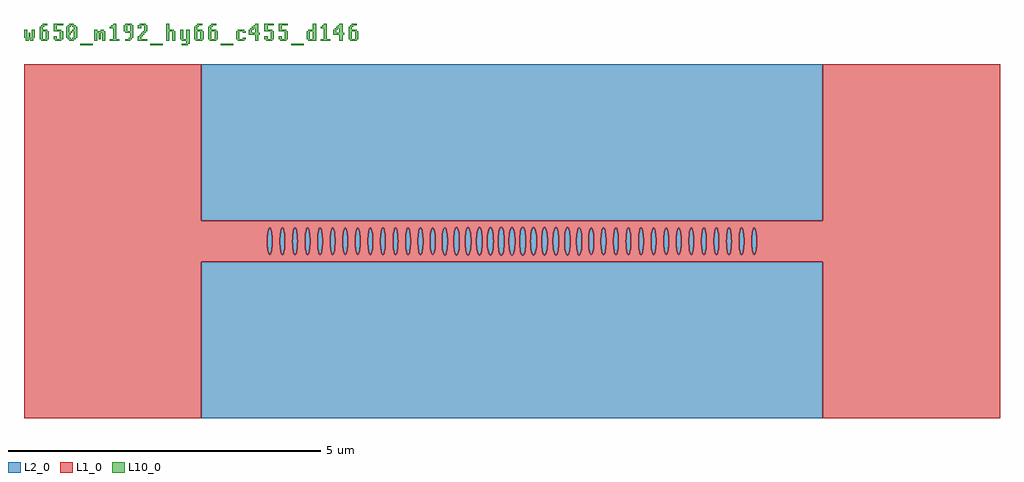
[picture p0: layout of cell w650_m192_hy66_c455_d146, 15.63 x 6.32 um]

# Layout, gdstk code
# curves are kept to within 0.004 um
import gdstk
lib = gdstk.Library(unit=1e-6, precision=1e-09)
def R(c, l, rs):  # rectangles x0, y0, x1, y1
    for r in rs: c.add(gdstk.rectangle(r[:2], r[2:], *l))
def A(c, l, x, y, w, h, nx, ny, dx, dy):  # array of equal rectangles
    R(c, l, [(x+i*dx, y+j*dy, x+i*dx+w, y+j*dy+h) for i in range(nx) for j in range(ny)])
def P(c, l, *ps):  # polygons
    for p in ps: c.add(gdstk.Polygon(p, *l))
L1_0 = (1, 0)
L2_0 = (2, 0)
L10_0 = (10, 0)

w650_m192_hy66_c455_d146 = lib.new_cell('w650_m192_hy66_c455_d146')
P(w650_m192_hy66_c455_d146, L1_0, [(-4.978,0.325),(-4.978,2.835),(-7.813,2.835),(-7.813,-0.039),(-3.917,-0.039),(-3.915,0.077),(-3.907,0.145),(-3.895,0.192),(-3.881,0.214),(-3.873,0.214),(-3.859,0.192),(-3.847,0.145),(-3.837,0),(-3.716,0),(-3.706,0.145),(-3.694,0.192),(-3.68,0.214),(-3.672,0.214),(-3.658,0.192),(-3.646,0.145),(-3.636,0),(-3.515,0),(-3.504,0.145),(-3.493,0.192),(-3.478,0.214),(-3.464,0.206),(-3.45,0.171),(-3.437,0.077),(-3.434,0),(-3.314,0),(-3.303,0.145),(-3.291,0.192),(-3.277,0.214),(-3.263,0.206),(-3.249,0.171),(-3.239,0.113),(-3.233,0),(-3.113,0),(-3.107,0.113),(-3.097,0.171),(-3.083,0.206),(-3.069,0.214),(-3.054,0.192),(-3.043,0.145),(-3.032,0),(-3.043,-0.145),(-3.054,-0.192),(-3.069,-0.214),(-3.083,-0.206),(-3.097,-0.171),(-3.107,-0.113),(-3.113,0),(-3.233,0),(-3.244,-0.145),(-3.256,-0.192),(-3.27,-0.214),(-3.285,-0.206),(-3.298,-0.171),(-3.308,-0.113),(-3.314,0),(-3.434,0),(-3.445,-0.145),(-3.457,-0.192),(-3.471,-0.214),(-3.486,-0.206),(-3.499,-0.171),(-3.509,-0.113),(-3.515,0),(-3.636,0),(-3.646,-0.145),(-3.658,-0.192),(-3.672,-0.214),(-3.68,-0.214),(-3.694,-0.192),(-3.706,-0.145),(-3.716,0),(-3.837,0),(-3.847,-0.145),(-3.859,-0.192),(-3.873,-0.214),(-3.888,-0.206),(-3.901,-0.171),(-3.917,-0.039),(-7.813,-0.039),(-7.813,-2.835),(-4.978,-2.835),(-4.978,-0.325),(-2.911,-0.325),(-2.911,0.325)],
  [(-2.905,0.113),(-2.889,0.192),(-2.875,0.214),(-2.867,0.214),(-2.853,0.192),(-2.841,0.145),(-2.831,0),(-2.71,0),(-2.7,0.145),(-2.688,0.192),(-2.674,0.214),(-2.666,0.214),(-2.652,0.192),(-2.64,0.145),(-2.63,0),(-2.509,0),(-2.503,0.113),(-2.493,0.171),(-2.48,0.206),(-2.465,0.214),(-2.451,0.192),(-2.439,0.145),(-2.428,0),(-2.308,0),(-2.302,0.113),(-2.292,0.171),(-2.279,0.206),(-2.264,0.214),(-2.25,0.192),(-2.238,0.145),(-2.227,0),(-2.107,0),(-2.101,0.113),(-2.091,0.171),(-2.077,0.206),(-2.063,0.214),(-2.048,0.192),(-2.037,0.145),(-2.026,0),(-2.037,-0.145),(-2.048,-0.192),(-2.063,-0.214),(-2.077,-0.206),(-2.091,-0.171),(-2.101,-0.113),(-2.107,0),(-2.227,0),(-2.238,-0.145),(-2.25,-0.192),(-2.264,-0.214),(-2.279,-0.206),(-2.292,-0.171),(-2.302,-0.113),(-2.308,0),(-2.428,0),(-2.439,-0.145),(-2.451,-0.192),(-2.465,-0.214),(-2.48,-0.206),(-2.493,-0.171),(-2.503,-0.113),(-2.509,0),(-2.63,0),(-2.64,-0.145),(-2.652,-0.192),(-2.666,-0.214),(-2.674,-0.214),(-2.688,-0.192),(-2.7,-0.145),(-2.71,0),(-2.831,0),(-2.841,-0.145),(-2.853,-0.192),(-2.867,-0.214),(-2.882,-0.206),(-2.895,-0.171),(-2.911,-0.039),(-2.911,-0.325),(-1.899,-0.325),(-1.899,-0.113),(-1.905,-0.039),(-1.899,0.325),(-2.911,0.325),(-2.911,0.039)],
  [(-1.889,0.171),(-1.869,0.214),(-1.861,0.214),(-1.847,0.192),(-1.831,0.113),(-1.825,0),(-1.705,0),(-1.699,0.113),(-1.689,0.172),(-1.675,0.207),(-1.661,0.214),(-1.646,0.193),(-1.634,0.145),(-1.624,0.04),(-1.624,-0.04),(-1.506,-0.04),(-1.504,0.078),(-1.496,0.146),(-1.484,0.194),(-1.469,0.216),(-1.454,0.208),(-1.434,0.146),(-1.424,0),(-1.311,0),(-1.3,0.147),(-1.288,0.196),(-1.273,0.217),(-1.257,0.21),(-1.237,0.147),(-1.226,0),(-1.12,0),(-1.108,0.149),(-1.088,0.212),(-1.072,0.22),(-1.056,0.197),(-1.043,0.149),(-1.032,0.041),(-1.032,-0.041),(-1.049,-0.176),(-1.072,-0.22),(-1.088,-0.212),(-1.108,-0.149),(-1.12,0),(-1.226,0),(-1.237,-0.147),(-1.25,-0.196),(-1.265,-0.217),(-1.273,-0.217),(-1.288,-0.196),(-1.3,-0.147),(-1.311,0),(-1.424,0),(-1.434,-0.146),(-1.447,-0.194),(-1.461,-0.216),(-1.476,-0.208),(-1.49,-0.173),(-1.506,-0.04),(-1.624,-0.04),(-1.64,-0.172),(-1.653,-0.207),(-1.668,-0.214),(-1.682,-0.193),(-1.694,-0.145),(-1.705,0),(-1.825,0),(-1.835,-0.145),(-1.854,-0.206),(-1.869,-0.214),(-1.883,-0.192),(-1.899,-0.113),(-1.899,-0.325),(-0.907,-0.325),(-0.907,-0.199),(-0.926,-0.117),(-0.933,0),(-0.926,0.117),(-0.907,0.199),(-0.907,0.325),(-1.899,0.325),(-1.899,0.113)],
  [(-0.048,0.082),(-0.031,0.182),(-0.023,0.204),(-0.005,0.227),(-0.005,0.325),(-0.907,0.325),(-0.907,0.199),(-0.9,0.214),(-0.883,0.222),(-0.859,0.178),(-0.844,0.08),(-0.841,0),(-0.75,0),(-0.738,0.151),(-0.724,0.201),(-0.707,0.223),(-0.69,0.216),(-0.674,0.179),(-0.658,0.081),(-0.655,0),(-0.572,0),(-0.559,0.152),(-0.544,0.202),(-0.527,0.225),(-0.509,0.217),(-0.486,0.152),(-0.474,0),(-0.396,0),(-0.383,0.153),(-0.368,0.203),(-0.351,0.226),(-0.332,0.218),(-0.309,0.153),(-0.299,0.082),(-0.297,-0.042),(-0.223,-0.042),(-0.216,0.12),(-0.195,0.203),(-0.177,0.226),(-0.158,0.219),(-0.134,0.153),(-0.121,0),(-0.134,-0.153),(-0.149,-0.203),(-0.168,-0.226),(-0.186,-0.219),(-0.203,-0.181),(-0.216,-0.12),(-0.223,-0.042),(-0.297,-0.042),(-0.303,-0.119),(-0.316,-0.181),(-0.341,-0.226),(-0.36,-0.218),(-0.376,-0.181),(-0.389,-0.119),(-0.396,0),(-0.474,0),(-0.486,-0.152),(-0.501,-0.202),(-0.518,-0.225),(-0.536,-0.217),(-0.559,-0.152),(-0.572,0),(-0.655,0),(-0.658,-0.081),(-0.674,-0.179),(-0.69,-0.216),(-0.707,-0.223),(-0.724,-0.201),(-0.738,-0.151),(-0.75,0),(-0.841,0),(-0.844,-0.08),(-0.859,-0.178),(-0.883,-0.222),(-0.9,-0.214),(-0.907,-0.199),(-0.907,-0.325),(-0.005,-0.325),(-0.005,-0.227),(-0.023,-0.204),(-0.044,-0.12),(-0.052,0)],
  [(0.844,0.08),(0.853,0.15),(0.867,0.199),(0.883,0.222),(0.9,0.214),(0.9,0.325),(-0.005,0.325),(-0.005,0.227),(0.014,0.219),(0.031,0.182),(0.044,0.12),(0.052,0),(0.121,0),(0.134,0.153),(0.149,0.203),(0.168,0.226),(0.186,0.219),(0.21,0.153),(0.223,0),(0.296,0),(0.303,0.119),(0.316,0.181),(0.341,0.226),(0.36,0.218),(0.376,0.181),(0.389,0.119),(0.395,-0.041),(0.474,-0.041),(0.474,0.041),(0.486,0.152),(0.501,0.202),(0.518,0.225),(0.536,0.217),(0.559,0.152),(0.572,0),(0.655,0),(0.658,0.081),(0.674,0.179),(0.69,0.216),(0.707,0.223),(0.724,0.201),(0.738,0.151),(0.75,0),(0.738,-0.151),(0.724,-0.201),(0.707,-0.223),(0.69,-0.216),(0.674,-0.179),(0.658,-0.081),(0.655,0),(0.572,0),(0.559,-0.152),(0.536,-0.217),(0.518,-0.225),(0.493,-0.18),(0.474,-0.041),(0.395,-0.041),(0.383,-0.153),(0.368,-0.203),(0.351,-0.226),(0.332,-0.218),(0.309,-0.153),(0.296,0),(0.223,0),(0.21,-0.153),(0.195,-0.203),(0.177,-0.226),(0.158,-0.219),(0.134,-0.153),(0.121,0),(0.052,0),(0.044,-0.12),(0.031,-0.182),(0.014,-0.219),(-0.005,-0.227),(-0.005,-0.325),(0.9,-0.325),(0.9,-0.214),(0.891,-0.222),(0.875,-0.214),(0.859,-0.178),(0.848,-0.117),(0.841,0)],
  [(1.828,0.077),(1.841,0.171),(1.861,0.214),(1.869,0.214),(1.883,0.192),(1.899,0.113),(1.899,0.325),(0.9,0.325),(0.9,0.214),(0.915,0.178),(0.926,0.117),(0.932,-0.041),(1.032,-0.041),(1.032,0.041),(1.043,0.149),(1.056,0.197),(1.072,0.22),(1.088,0.212),(1.108,0.149),(1.12,0),(1.226,0),(1.237,0.147),(1.25,0.196),(1.265,0.217),(1.273,0.217),(1.288,0.196),(1.3,0.147),(1.308,0.079),(1.31,-0.04),(1.424,-0.04),(1.426,0.078),(1.434,0.146),(1.447,0.194),(1.461,0.216),(1.469,0.216),(1.484,0.194),(1.496,0.146),(1.504,0.078),(1.506,-0.04),(1.624,-0.04),(1.624,0.04),(1.634,0.145),(1.646,0.193),(1.661,0.214),(1.675,0.207),(1.689,0.172),(1.699,0.113),(1.705,0),(1.694,-0.145),(1.682,-0.193),(1.668,-0.214),(1.653,-0.207),(1.64,-0.172),(1.624,-0.04),(1.506,-0.04),(1.496,-0.146),(1.484,-0.194),(1.469,-0.216),(1.454,-0.208),(1.44,-0.173),(1.424,-0.04),(1.31,-0.04),(1.294,-0.174),(1.28,-0.21),(1.265,-0.217),(1.25,-0.196),(1.237,-0.147),(1.226,0),(1.12,0),(1.108,-0.149),(1.095,-0.197),(1.08,-0.22),(1.064,-0.212),(1.049,-0.176),(1.032,-0.041),(0.932,-0.041),(0.921,-0.15),(0.9,-0.214),(0.9,-0.325),(1.899,-0.325),(1.899,-0.113),(1.889,-0.171),(1.876,-0.206),(1.861,-0.214),(1.847,-0.192),(1.835,-0.145),(1.828,-0.077)],
  [(1.899,0.325),(1.905,0),(2.026,0),(2.037,0.145),(2.048,0.192),(2.063,0.214),(2.077,0.206),(2.091,0.171),(2.101,0.113),(2.107,0),(2.227,0),(2.238,0.145),(2.25,0.192),(2.264,0.214),(2.279,0.206),(2.292,0.171),(2.302,0.113),(2.308,0),(2.428,0),(2.431,0.077),(2.444,0.171),(2.458,0.206),(2.472,0.214),(2.487,0.192),(2.503,0.113),(2.508,-0.039),(2.63,-0.039),(2.632,0.077),(2.64,0.145),(2.652,0.192),(2.666,0.214),(2.674,0.214),(2.688,0.192),(2.7,0.145),(2.71,0),(2.7,-0.145),(2.688,-0.192),(2.674,-0.214),(2.659,-0.206),(2.646,-0.171),(2.63,-0.039),(2.508,-0.039),(2.493,-0.171),(2.48,-0.206),(2.465,-0.214),(2.451,-0.192),(2.439,-0.145),(2.428,0),(2.308,0),(2.297,-0.145),(2.285,-0.192),(2.271,-0.214),(2.257,-0.206),(2.243,-0.171),(2.233,-0.113),(2.227,0),(2.107,0),(2.101,-0.113),(2.091,-0.171),(2.077,-0.206),(2.063,-0.214),(2.048,-0.192),(2.037,-0.145),(2.026,0),(1.905,0),(1.899,-0.325),(2.911,-0.325),(2.911,-0.039),(2.895,-0.171),(2.882,-0.206),(2.867,-0.214),(2.853,-0.192),(2.841,-0.145),(2.831,0),(2.841,0.145),(2.853,0.192),(2.867,0.214),(2.882,0.206),(2.895,0.171),(2.911,0.039),(2.911,0.325)],
  [(4.978,-0.325),(4.978,-2.835),(7.813,-2.835),(7.813,2.835),(4.978,2.835),(4.978,0.325),(2.911,0.325),(2.911,0),(3.032,0),(3.043,0.145),(3.054,0.192),(3.069,0.214),(3.083,0.206),(3.097,0.171),(3.107,0.113),(3.113,0),(3.233,0),(3.244,0.145),(3.256,0.192),(3.27,0.214),(3.285,0.206),(3.298,0.171),(3.308,0.113),(3.314,0),(3.434,0),(3.445,0.145),(3.457,0.192),(3.471,0.214),(3.478,0.214),(3.493,0.192),(3.504,0.145),(3.512,0.077),(3.514,-0.039),(3.636,-0.039),(3.638,0.077),(3.646,0.145),(3.658,0.192),(3.672,0.214),(3.68,0.214),(3.694,0.192),(3.706,0.145),(3.716,0),(3.837,0),(3.847,0.145),(3.859,0.192),(3.873,0.214),(3.888,0.206),(3.901,0.171),(3.917,0.039),(3.915,-0.077),(3.907,-0.145),(3.895,-0.192),(3.881,-0.214),(3.873,-0.214),(3.859,-0.192),(3.847,-0.145),(3.837,0),(3.716,0),(3.706,-0.145),(3.694,-0.192),(3.68,-0.214),(3.665,-0.206),(3.652,-0.171),(3.636,-0.039),(3.514,-0.039),(3.499,-0.171),(3.486,-0.206),(3.471,-0.214),(3.457,-0.192),(3.445,-0.145),(3.434,0),(3.314,0),(3.303,-0.145),(3.291,-0.192),(3.277,-0.214),(3.263,-0.206),(3.249,-0.171),(3.239,-0.113),(3.233,0),(3.113,0),(3.107,-0.113),(3.097,-0.171),(3.083,-0.206),(3.069,-0.214),(3.054,-0.192),(3.043,-0.145),(3.032,0),(2.911,0),(2.911,-0.325)])
R(w650_m192_hy66_c455_d146, L2_0, [(-4.978,-2.835,4.978,-0.325), (-4.978,0.325,4.978,2.835)])
P(w650_m192_hy66_c455_d146, L2_0, [(2.23,-0.077),(2.243,-0.171),(2.264,-0.214),(2.279,-0.206),(2.285,-0.192),(2.302,-0.113),(2.308,0),(2.302,0.113),(2.292,0.171),(2.271,0.214),(2.264,0.214),(2.25,0.192),(2.233,0.113),(2.227,0)],
  [(-1.702,-0.078),(-1.689,-0.172),(-1.668,-0.214),(-1.653,-0.207),(-1.646,-0.193),(-1.634,-0.145),(-1.624,-0.04),(-1.624,0.04),(-1.634,0.145),(-1.646,0.193),(-1.661,0.214),(-1.668,0.214),(-1.682,0.193),(-1.699,0.113),(-1.705,0)],
  [(-3.713,-0.077),(-3.7,-0.171),(-3.68,-0.214),(-3.672,-0.214),(-3.658,-0.192),(-3.646,-0.145),(-3.636,-0.039),(-3.638,0.077),(-3.652,0.171),(-3.672,0.214),(-3.68,0.214),(-3.694,0.192),(-3.706,0.145),(-3.715,0.039)],
  [(3.437,-0.077),(3.45,-0.171),(3.471,-0.214),(3.478,-0.214),(3.493,-0.192),(3.509,-0.113),(3.515,0),(3.509,0.113),(3.493,0.192),(3.478,0.214),(3.471,0.214),(3.457,0.192),(3.445,0.145),(3.435,0.039)],
  [(3.311,0.077),(3.298,0.171),(3.277,0.214),(3.27,0.214),(3.256,0.192),(3.239,0.113),(3.233,0),(3.239,-0.113),(3.249,-0.171),(3.27,-0.214),(3.285,-0.206),(3.291,-0.192),(3.308,-0.113),(3.314,0)],
  [(3.11,0.077),(3.097,0.171),(3.076,0.214),(3.069,0.214),(3.054,0.192),(3.038,0.113),(3.032,0),(3.038,-0.113),(3.054,-0.192),(3.069,-0.214),(3.076,-0.214),(3.09,-0.192),(3.107,-0.113),(3.113,0)],
  [(2.909,0.077),(2.895,0.171),(2.875,0.214),(2.867,0.214),(2.853,0.192),(2.841,0.145),(2.832,0.039),(2.834,-0.077),(2.847,-0.171),(2.867,-0.214),(2.875,-0.214),(2.889,-0.192),(2.901,-0.145),(2.911,-0.039)],
  [(-3.512,-0.077),(-3.499,-0.171),(-3.486,-0.206),(-3.478,-0.214),(-3.464,-0.206),(-3.445,-0.145),(-3.435,-0.039),(-3.437,0.077),(-3.45,0.171),(-3.471,0.214),(-3.478,0.214),(-3.493,0.192),(-3.509,0.113),(-3.515,0)],
  [(2.431,-0.077),(2.444,-0.171),(2.465,-0.214),(2.472,-0.214),(2.487,-0.192),(2.503,-0.113),(2.509,0),(2.503,0.113),(2.487,0.192),(2.472,0.214),(2.465,0.214),(2.451,0.192),(2.439,0.145),(2.429,0.039)],
  [(-3.311,-0.077),(-3.298,-0.171),(-3.277,-0.214),(-3.27,-0.214),(-3.256,-0.192),(-3.239,-0.113),(-3.233,0),(-3.239,0.113),(-3.249,0.171),(-3.27,0.214),(-3.285,0.206),(-3.291,0.192),(-3.308,0.113),(-3.314,0)],
  [(2.104,0.077),(2.091,0.171),(2.07,0.214),(2.063,0.214),(2.048,0.192),(2.032,0.113),(2.026,0),(2.032,-0.113),(2.048,-0.192),(2.063,-0.214),(2.07,-0.214),(2.084,-0.192),(2.101,-0.113),(2.107,0)],
  [(1.903,0.077),(1.889,0.171),(1.869,0.214),(1.861,0.214),(1.847,0.192),(1.835,0.145),(1.826,0.039),(1.828,-0.077),(1.841,-0.171),(1.861,-0.214),(1.869,-0.214),(1.883,-0.192),(1.895,-0.145),(1.905,-0.039)],
  [(-3.11,-0.077),(-3.097,-0.171),(-3.076,-0.214),(-3.069,-0.214),(-3.054,-0.192),(-3.038,-0.113),(-3.032,0),(-3.038,0.113),(-3.054,0.192),(-3.069,0.214),(-3.076,0.214),(-3.09,0.192),(-3.107,0.113),(-3.113,0)],
  [(-2.707,-0.077),(-2.694,-0.171),(-2.674,-0.214),(-2.666,-0.214),(-2.652,-0.192),(-2.64,-0.145),(-2.63,-0.039),(-2.632,0.077),(-2.646,0.171),(-2.666,0.214),(-2.674,0.214),(-2.688,0.192),(-2.7,0.145),(-2.709,0.039)],
  [(1.229,-0.079),(1.243,-0.174),(1.265,-0.217),(1.273,-0.217),(1.288,-0.196),(1.305,-0.115),(1.311,0),(1.305,0.115),(1.288,0.196),(1.273,0.217),(1.257,0.21),(1.25,0.196),(1.232,0.115),(1.226,0)],
  [(-2.506,-0.077),(-2.493,-0.171),(-2.48,-0.206),(-2.472,-0.214),(-2.458,-0.206),(-2.439,-0.145),(-2.429,-0.039),(-2.431,0.077),(-2.444,0.171),(-2.465,0.214),(-2.472,0.214),(-2.487,0.192),(-2.503,0.113),(-2.509,0)],
  [(0.844,-0.08),(0.859,-0.178),(0.883,-0.222),(0.9,-0.214),(0.921,-0.15),(0.932,-0.041),(0.93,0.08),(0.915,0.178),(0.9,0.214),(0.891,0.222),(0.883,0.222),(0.867,0.199),(0.853,0.15),(0.842,0.041)],
  [(0.747,0.081),(0.731,0.179),(0.716,0.216),(0.707,0.223),(0.69,0.216),(0.682,0.201),(0.662,0.118),(0.655,0),(0.658,-0.081),(0.674,-0.179),(0.698,-0.223),(0.716,-0.216),(0.738,-0.151),(0.749,-0.041)],
  [(-2.305,-0.077),(-2.292,-0.171),(-2.271,-0.214),(-2.264,-0.214),(-2.25,-0.192),(-2.233,-0.113),(-2.227,0),(-2.233,0.113),(-2.243,0.171),(-2.264,0.214),(-2.279,0.206),(-2.285,0.192),(-2.302,0.113),(-2.308,0)],
  [(0.299,-0.082),(0.316,-0.181),(0.341,-0.226),(0.351,-0.226),(0.368,-0.203),(0.389,-0.119),(0.396,0),(0.389,0.119),(0.376,0.181),(0.351,0.226),(0.341,0.226),(0.324,0.203),(0.303,0.119),(0.296,0)],
  [(0.22,0.082),(0.21,0.153),(0.186,0.219),(0.177,0.226),(0.158,0.219),(0.134,0.153),(0.122,0.042),(0.124,-0.082),(0.141,-0.181),(0.158,-0.219),(0.168,-0.226),(0.186,-0.219),(0.195,-0.203),(0.216,-0.12),(0.223,-0.042)],
  [(0.048,0.082),(0.031,0.182),(0.023,0.204),(0.005,0.227),(-0.005,0.227),(-0.023,0.204),(-0.044,0.12),(-0.052,0),(-0.044,-0.12),(-0.023,-0.204),(-0.005,-0.227),(0.005,-0.227),(0.023,-0.204),(0.044,-0.12),(0.052,0)],
  [(-2.104,-0.077),(-2.091,-0.171),(-2.07,-0.214),(-2.063,-0.214),(-2.048,-0.192),(-2.032,-0.113),(-2.026,0),(-2.032,0.113),(-2.048,0.192),(-2.063,0.214),(-2.07,0.214),(-2.084,0.192),(-2.101,0.113),(-2.107,0)],
  [(-0.393,-0.082),(-0.376,-0.181),(-0.351,-0.226),(-0.341,-0.226),(-0.324,-0.203),(-0.303,-0.119),(-0.296,0),(-0.303,0.119),(-0.316,0.181),(-0.341,0.226),(-0.351,0.226),(-0.368,0.203),(-0.389,0.119),(-0.396,0)],
  [(-0.477,0.082),(-0.493,0.18),(-0.518,0.225),(-0.536,0.217),(-0.559,0.152),(-0.571,0.041),(-0.568,-0.082),(-0.552,-0.18),(-0.527,-0.225),(-0.509,-0.217),(-0.486,-0.152),(-0.474,-0.041)],
  [(-0.658,0.081),(-0.674,0.179),(-0.69,0.216),(-0.698,0.223),(-0.716,0.216),(-0.738,0.151),(-0.749,0.041),(-0.747,-0.081),(-0.731,-0.179),(-0.716,-0.216),(-0.707,-0.223),(-0.69,-0.216),(-0.682,-0.201),(-0.662,-0.118),(-0.655,0)],
  [(-0.844,0.08),(-0.859,0.178),(-0.883,0.222),(-0.9,0.214),(-0.921,0.15),(-0.932,0.041),(-0.93,-0.08),(-0.915,-0.178),(-0.9,-0.214),(-0.891,-0.222),(-0.883,-0.222),(-0.867,-0.199),(-0.853,-0.15),(-0.842,-0.041)],
  [(-1.035,0.08),(-1.049,0.176),(-1.072,0.22),(-1.08,0.22),(-1.095,0.197),(-1.113,0.116),(-1.12,0),(-1.117,-0.08),(-1.102,-0.176),(-1.08,-0.22),(-1.072,-0.22),(-1.056,-0.197),(-1.038,-0.116),(-1.032,-0.041)],
  [(-1.229,0.079),(-1.243,0.174),(-1.265,0.217),(-1.273,0.217),(-1.288,0.196),(-1.305,0.115),(-1.311,0),(-1.305,-0.115),(-1.288,-0.196),(-1.273,-0.217),(-1.257,-0.21),(-1.25,-0.196),(-1.232,-0.115),(-1.226,0)],
  [(3.84,-0.077),(3.853,-0.171),(3.873,-0.214),(3.881,-0.214),(3.895,-0.192),(3.907,-0.145),(3.917,-0.039),(3.915,0.077),(3.901,0.171),(3.881,0.214),(3.873,0.214),(3.859,0.192),(3.847,0.145),(3.838,0.039)],
  [(-1.828,0.077),(-1.841,0.171),(-1.861,0.214),(-1.869,0.214),(-1.883,0.192),(-1.895,0.145),(-1.905,0.039),(-1.903,-0.077),(-1.889,-0.171),(-1.869,-0.214),(-1.861,-0.214),(-1.847,-0.192),(-1.835,-0.145),(-1.826,-0.039)],
  [(-2.834,0.077),(-2.847,0.171),(-2.867,0.214),(-2.875,0.214),(-2.889,0.192),(-2.901,0.145),(-2.911,0.039),(-2.909,-0.077),(-2.895,-0.171),(-2.875,-0.214),(-2.867,-0.214),(-2.853,-0.192),(-2.841,-0.145),(-2.832,-0.039)],
  [(2.707,0.077),(2.694,0.171),(2.674,0.214),(2.666,0.214),(2.652,0.192),(2.64,0.145),(2.63,0.039),(2.632,-0.077),(2.646,-0.171),(2.666,-0.214),(2.674,-0.214),(2.688,-0.192),(2.7,-0.145),(2.709,-0.039)],
  [(3.713,0.077),(3.7,0.171),(3.68,0.214),(3.672,0.214),(3.658,0.192),(3.646,0.145),(3.636,0.039),(3.638,-0.077),(3.652,-0.171),(3.672,-0.214),(3.68,-0.214),(3.694,-0.192),(3.706,-0.145),(3.715,-0.039)],
  [(-3.84,0.077),(-3.853,0.171),(-3.873,0.214),(-3.881,0.214),(-3.895,0.192),(-3.907,0.145),(-3.917,0.039),(-3.915,-0.077),(-3.901,-0.171),(-3.881,-0.214),(-3.873,-0.214),(-3.859,-0.192),(-3.847,-0.145),(-3.838,-0.039)],
  [(-1.426,0.078),(-1.44,0.173),(-1.461,0.216),(-1.469,0.216),(-1.484,0.194),(-1.496,0.146),(-1.506,0.04),(-1.504,-0.078),(-1.49,-0.173),(-1.469,-0.216),(-1.454,-0.208),(-1.434,-0.146),(-1.424,-0.04)],
  [(1.43,-0.114),(1.44,-0.173),(1.461,-0.216),(1.469,-0.216),(1.484,-0.194),(1.5,-0.114),(1.506,-0.04),(1.504,0.078),(1.49,0.173),(1.469,0.216),(1.461,0.216),(1.447,0.194),(1.43,0.114),(1.424,0.04)],
  [(1.702,0.078),(1.689,0.172),(1.668,0.214),(1.653,0.207),(1.646,0.193),(1.634,0.145),(1.624,0.04),(1.624,-0.04),(1.634,-0.145),(1.646,-0.193),(1.661,-0.214),(1.668,-0.214),(1.682,-0.193),(1.699,-0.113),(1.705,0)],
  [(0.568,0.082),(0.552,0.18),(0.527,0.225),(0.509,0.217),(0.486,0.152),(0.474,0.041),(0.477,-0.082),(0.493,-0.18),(0.518,-0.225),(0.536,-0.217),(0.559,-0.152),(0.571,-0.041)],
  [(1.117,0.08),(1.102,0.176),(1.08,0.22),(1.072,0.22),(1.056,0.197),(1.038,0.116),(1.032,0.041),(1.038,-0.116),(1.049,-0.176),(1.072,-0.22),(1.08,-0.22),(1.095,-0.197),(1.113,-0.116),(1.12,0)],
  [(-0.124,0.082),(-0.141,0.181),(-0.158,0.219),(-0.168,0.226),(-0.186,0.219),(-0.195,0.203),(-0.216,0.12),(-0.223,0.042),(-0.216,-0.12),(-0.195,-0.203),(-0.177,-0.226),(-0.158,-0.219),(-0.134,-0.153),(-0.122,-0.042)])
A(w650_m192_hy66_c455_d146, L10_0, -6.913, 3.135, 0.2, 0.025, 4, 1, 1.125, 0)
R(w650_m192_hy66_c455_d146, L10_0, [(-7.063,3.335,-7.038,3.36)])
P(w650_m192_hy66_c455_d146, L10_0, [(-7.788,3.26),(-7.788,3.21),(-7.738,3.21),(-7.738,3.235),(-7.713,3.235),(-7.713,3.21),(-7.663,3.21),(-7.663,3.26),(-7.638,3.26),(-7.638,3.385),(-7.688,3.385),(-7.688,3.26),(-7.713,3.26),(-7.713,3.335),(-7.738,3.335),(-7.738,3.26),(-7.763,3.26),(-7.763,3.385),(-7.813,3.385),(-7.813,3.26)],
  [(-7.413,3.36),(-7.438,3.36),(-7.438,3.385),(-7.513,3.385),(-7.513,3.435),(-7.488,3.435),(-7.488,3.46),(-7.438,3.46),(-7.438,3.485),(-7.513,3.485),(-7.513,3.46),(-7.538,3.46),(-7.538,3.435),(-7.563,3.435),(-7.563,3.235),(-7.513,3.235),(-7.513,3.36),(-7.463,3.36),(-7.463,3.235),(-7.513,3.235),(-7.563,3.235),(-7.538,3.235),(-7.538,3.21),(-7.438,3.21),(-7.438,3.235),(-7.413,3.235)],
  [(-7.313,3.235),(-7.313,3.21),(-7.213,3.21),(-7.213,3.235),(-7.188,3.235),(-7.188,3.36),(-7.213,3.36),(-7.213,3.385),(-7.288,3.385),(-7.288,3.46),(-7.188,3.46),(-7.188,3.485),(-7.338,3.485),(-7.338,3.36),(-7.238,3.36),(-7.238,3.235),(-7.288,3.235),(-7.288,3.285),(-7.338,3.285),(-7.338,3.235)],
  [(-6.988,3.26),(-6.963,3.26),(-6.963,3.435),(-6.988,3.435),(-6.988,3.46),(-7.013,3.46),(-7.013,3.485),(-7.088,3.485),(-7.088,3.46),(-7.113,3.46),(-7.113,3.435),(-7.138,3.435),(-7.138,3.26),(-7.088,3.26),(-7.088,3.31),(-7.063,3.31),(-7.063,3.335),(-7.088,3.335),(-7.088,3.435),(-7.063,3.435),(-7.063,3.46),(-7.038,3.46),(-7.038,3.435),(-7.013,3.435),(-7.013,3.385),(-7.038,3.385),(-7.038,3.36),(-7.013,3.36),(-7.013,3.26),(-7.038,3.26),(-7.038,3.235),(-7.063,3.235),(-7.063,3.26),(-7.088,3.26),(-7.138,3.26),(-7.113,3.26),(-7.113,3.235),(-7.088,3.235),(-7.088,3.21),(-7.013,3.21),(-7.013,3.235),(-6.988,3.235)],
  [(-6.638,3.21),(-6.638,3.335),(-6.613,3.335),(-6.613,3.235),(-6.588,3.235),(-6.588,3.335),(-6.563,3.335),(-6.563,3.21),(-6.513,3.21),(-6.513,3.36),(-6.538,3.36),(-6.538,3.385),(-6.588,3.385),(-6.588,3.36),(-6.638,3.36),(-6.638,3.385),(-6.688,3.385),(-6.688,3.21)],
  [(-6.413,3.435),(-6.438,3.435),(-6.438,3.41),(-6.388,3.41),(-6.388,3.235),(-6.438,3.235),(-6.438,3.21),(-6.288,3.21),(-6.288,3.235),(-6.338,3.235),(-6.338,3.485),(-6.388,3.485),(-6.388,3.46),(-6.413,3.46)],
  [(-6.113,3.26),(-6.138,3.26),(-6.138,3.235),(-6.188,3.235),(-6.188,3.21),(-6.113,3.21),(-6.113,3.235),(-6.088,3.235),(-6.088,3.26),(-6.063,3.26),(-6.063,3.46),(-6.088,3.46),(-6.088,3.485),(-6.188,3.485),(-6.188,3.46),(-6.213,3.46),(-6.213,3.36),(-6.163,3.36),(-6.163,3.46),(-6.113,3.46),(-6.113,3.36),(-6.163,3.36),(-6.213,3.36),(-6.188,3.36),(-6.188,3.335),(-6.113,3.335)],
  [(-5.988,3.41),(-5.938,3.41),(-5.938,3.46),(-5.888,3.46),(-5.888,3.36),(-5.913,3.36),(-5.913,3.335),(-5.938,3.335),(-5.938,3.31),(-5.963,3.31),(-5.963,3.285),(-5.988,3.285),(-5.988,3.21),(-5.838,3.21),(-5.838,3.235),(-5.938,3.235),(-5.938,3.285),(-5.913,3.285),(-5.913,3.31),(-5.888,3.31),(-5.888,3.335),(-5.863,3.335),(-5.863,3.36),(-5.838,3.36),(-5.838,3.46),(-5.863,3.46),(-5.863,3.485),(-5.963,3.485),(-5.963,3.46),(-5.988,3.46)],
  [(-5.488,3.21),(-5.488,3.36),(-5.438,3.36),(-5.438,3.21),(-5.388,3.21),(-5.388,3.36),(-5.413,3.36),(-5.413,3.385),(-5.488,3.385),(-5.488,3.485),(-5.538,3.485),(-5.538,3.21)],
  [(-5.288,3.235),(-5.288,3.21),(-5.213,3.21),(-5.213,3.16),(-5.288,3.16),(-5.288,3.135),(-5.188,3.135),(-5.188,3.16),(-5.163,3.16),(-5.163,3.385),(-5.213,3.385),(-5.213,3.235),(-5.263,3.235),(-5.263,3.385),(-5.313,3.385),(-5.313,3.235)],
  [(-4.938,3.36),(-4.963,3.36),(-4.963,3.385),(-5.038,3.385),(-5.038,3.435),(-5.013,3.435),(-5.013,3.46),(-4.963,3.46),(-4.963,3.485),(-5.038,3.485),(-5.038,3.46),(-5.063,3.46),(-5.063,3.435),(-5.088,3.435),(-5.088,3.235),(-5.038,3.235),(-5.038,3.36),(-4.988,3.36),(-4.988,3.235),(-5.038,3.235),(-5.088,3.235),(-5.063,3.235),(-5.063,3.21),(-4.963,3.21),(-4.963,3.235),(-4.938,3.235)],
  [(-4.713,3.36),(-4.738,3.36),(-4.738,3.385),(-4.813,3.385),(-4.813,3.435),(-4.788,3.435),(-4.788,3.46),(-4.738,3.46),(-4.738,3.485),(-4.813,3.485),(-4.813,3.46),(-4.838,3.46),(-4.838,3.435),(-4.863,3.435),(-4.863,3.235),(-4.813,3.235),(-4.813,3.36),(-4.763,3.36),(-4.763,3.235),(-4.813,3.235),(-4.863,3.235),(-4.838,3.235),(-4.838,3.21),(-4.738,3.21),(-4.738,3.235),(-4.713,3.235)],
  [(-4.413,3.235),(-4.388,3.235),(-4.388,3.21),(-4.288,3.21),(-4.288,3.235),(-4.263,3.235),(-4.263,3.26),(-4.313,3.26),(-4.313,3.235),(-4.363,3.235),(-4.363,3.36),(-4.313,3.36),(-4.313,3.335),(-4.263,3.335),(-4.263,3.36),(-4.288,3.36),(-4.288,3.385),(-4.388,3.385),(-4.388,3.36),(-4.413,3.36)],
  [(-4.063,3.21),(-4.063,3.31),(-4.038,3.31),(-4.038,3.335),(-4.063,3.335),(-4.063,3.485),(-4.113,3.485),(-4.113,3.46),(-4.138,3.46),(-4.138,3.435),(-4.163,3.435),(-4.163,3.41),(-4.188,3.41),(-4.188,3.385),(-4.213,3.385),(-4.213,3.335),(-4.163,3.335),(-4.163,3.385),(-4.138,3.385),(-4.138,3.41),(-4.113,3.41),(-4.113,3.335),(-4.163,3.335),(-4.213,3.335),(-4.213,3.31),(-4.113,3.31),(-4.113,3.21)],
  [(-3.938,3.235),(-3.938,3.21),(-3.838,3.21),(-3.838,3.235),(-3.813,3.235),(-3.813,3.36),(-3.838,3.36),(-3.838,3.385),(-3.913,3.385),(-3.913,3.46),(-3.813,3.46),(-3.813,3.485),(-3.963,3.485),(-3.963,3.36),(-3.863,3.36),(-3.863,3.235),(-3.913,3.235),(-3.913,3.285),(-3.963,3.285),(-3.963,3.235)],
  [(-3.713,3.235),(-3.713,3.21),(-3.613,3.21),(-3.613,3.235),(-3.588,3.235),(-3.588,3.36),(-3.613,3.36),(-3.613,3.385),(-3.688,3.385),(-3.688,3.46),(-3.588,3.46),(-3.588,3.485),(-3.738,3.485),(-3.738,3.36),(-3.638,3.36),(-3.638,3.235),(-3.688,3.235),(-3.688,3.285),(-3.738,3.285),(-3.738,3.235)],
  [(-3.188,3.485),(-3.188,3.385),(-3.263,3.385),(-3.263,3.36),(-3.288,3.36),(-3.288,3.235),(-3.238,3.235),(-3.238,3.36),(-3.188,3.36),(-3.188,3.235),(-3.238,3.235),(-3.288,3.235),(-3.263,3.235),(-3.263,3.21),(-3.138,3.21),(-3.138,3.485)],
  [(-3.038,3.435),(-3.063,3.435),(-3.063,3.41),(-3.013,3.41),(-3.013,3.235),(-3.063,3.235),(-3.063,3.21),(-2.913,3.21),(-2.913,3.235),(-2.963,3.235),(-2.963,3.485),(-3.013,3.485),(-3.013,3.46),(-3.038,3.46)],
  [(-2.713,3.21),(-2.713,3.31),(-2.688,3.31),(-2.688,3.335),(-2.713,3.335),(-2.713,3.485),(-2.763,3.485),(-2.763,3.46),(-2.788,3.46),(-2.788,3.435),(-2.813,3.435),(-2.813,3.41),(-2.838,3.41),(-2.838,3.385),(-2.863,3.385),(-2.863,3.335),(-2.813,3.335),(-2.813,3.385),(-2.788,3.385),(-2.788,3.41),(-2.763,3.41),(-2.763,3.335),(-2.813,3.335),(-2.863,3.335),(-2.863,3.31),(-2.763,3.31),(-2.763,3.21)],
  [(-2.463,3.36),(-2.488,3.36),(-2.488,3.385),(-2.563,3.385),(-2.563,3.435),(-2.538,3.435),(-2.538,3.46),(-2.488,3.46),(-2.488,3.485),(-2.563,3.485),(-2.563,3.46),(-2.588,3.46),(-2.588,3.435),(-2.613,3.435),(-2.613,3.235),(-2.563,3.235),(-2.563,3.36),(-2.513,3.36),(-2.513,3.235),(-2.563,3.235),(-2.613,3.235),(-2.588,3.235),(-2.588,3.21),(-2.488,3.21),(-2.488,3.235),(-2.463,3.235)])

lib.write_gds('w650_m192_hy66_c455_d146.gds')
